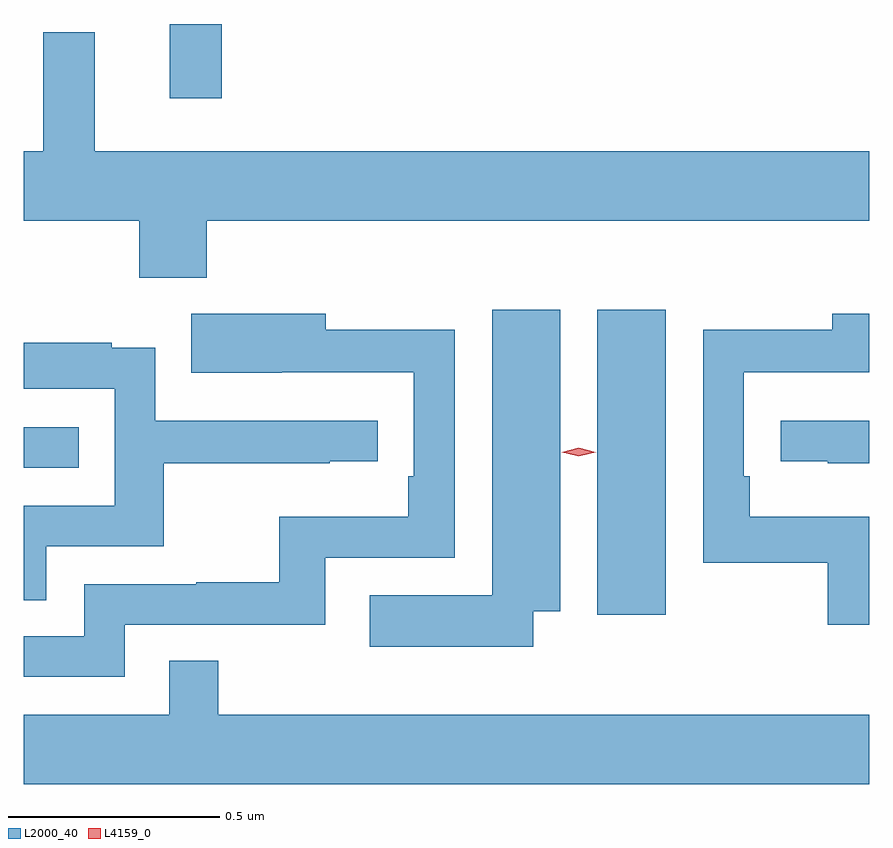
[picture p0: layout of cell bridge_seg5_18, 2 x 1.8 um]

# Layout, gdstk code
import gdstk
lib = gdstk.Library(unit=1e-6, precision=1e-09)
def R(c, l, rs):  # rectangles x0, y0, x1, y1
    for r in rs: c.add(gdstk.rectangle(r[:2], r[2:], *l))
def P(c, l, *ps):  # polygons
    for p in ps: c.add(gdstk.Polygon(p, *l))
L2000_40 = (2000, 40)
L4159_0 = (4159, 0)

bridge_seg5_18 = lib.new_cell('bridge_seg5_18')
R(bridge_seg5_18, L2000_40, [(972.548,863.82,972.709,864.541), (971.191,864.168,971.321,864.264), (971.537,865.041,971.659,865.217)])
P(bridge_seg5_18, L2000_40, [(971.624,864.752),(973.191,864.752),(973.191,864.916),(971.359,864.916),(971.359,865.198),(971.238,865.198),(971.238,864.916),(971.191,864.916),(971.191,864.752),(971.464,864.752),(971.464,864.617),(971.624,864.617)],
  [(972.396,863.828),(972.46,863.828),(972.46,864.541),(972.299,864.541),(972.299,863.866),(972.009,863.866),(972.009,863.744),(972.396,863.744)],
  [(973.191,864.052),(972.908,864.052),(972.908,864.148),(972.894,864.148),(972.894,864.393),(973.191,864.393),(973.191,864.532),(973.103,864.532),(973.103,864.494),(972.798,864.494),(972.798,863.943),(973.092,863.943),(973.092,863.796),(973.191,863.796)],
  [(971.43,863.796),(971.904,863.796),(971.904,863.955),(972.21,863.955),(972.21,864.494),(971.905,864.494),(971.905,864.532),(971.587,864.532),(971.587,864.392),(971.801,864.392),(971.801,864.393),(972.114,864.393),(972.114,864.148),(972.101,864.148),(972.101,864.052),(971.796,864.052),(971.796,863.897),(971.599,863.897),(971.599,863.892),(971.334,863.892),(971.334,863.769),(971.191,863.769),(971.191,863.673),(971.43,863.673)],
  [(971.245,863.982),(971.522,863.982),(971.522,864.178),(971.915,864.178),(971.915,864.183),(972.028,864.183),(972.028,864.279),(971.502,864.279),(971.502,864.451),(971.399,864.451),(971.399,864.463),(971.191,864.463),(971.191,864.354),(971.406,864.354),(971.406,864.078),(971.191,864.078),(971.191,863.854),(971.245,863.854)],
  [(973.191,864.279),(972.981,864.279),(972.981,864.183),(973.093,864.183),(973.093,864.178),(973.191,864.178)],
  [(973.191,863.584),(971.651,863.584),(971.651,863.711),(971.535,863.711),(971.535,863.584),(971.191,863.584),(971.191,863.42),(973.191,863.42)])
P(bridge_seg5_18, L4159_0, [(972.504,864.195),(972.464,864.205),(972.464,864.205),(972.464,864.205),(972.504,864.215),(972.544,864.205),(972.544,864.205),(972.544,864.205)])

lib.write_gds('bridge_seg5_18.gds')
